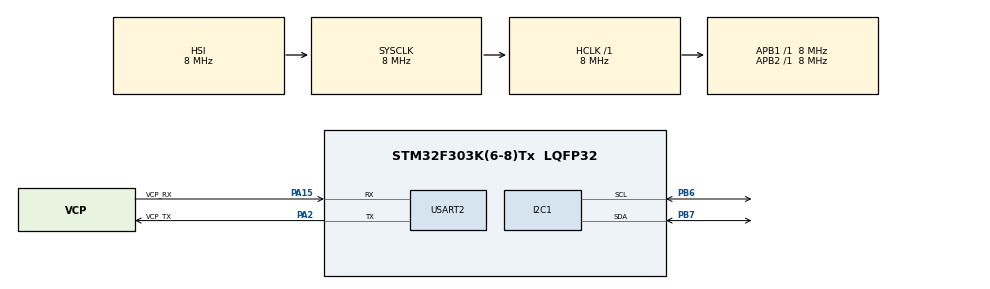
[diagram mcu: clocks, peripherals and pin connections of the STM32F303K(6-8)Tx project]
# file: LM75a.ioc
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Mcu.Family=STM32F3
Mcu.Name=STM32F303K(6-8)Tx
Mcu.Package=LQFP32
NVIC.PriorityGroup=NVIC_PRIORITYGROUP_4
PA13.GPIO_Label=SWDIO
PA13.Mode=Serial_Wire
PA13.Signal=SYS_JTMS-SWDIO
PA14.GPIO_Label=SWCLK
PA14.Mode=Serial_Wire
PA14.Signal=SYS_JTCK-SWCLK
PA15.GPIO_Label=VCP_RX
PA15.Mode=Asynchronous
PA15.Signal=USART2_RX
PA2.GPIO_Label=VCP_TX
PA2.Mode=Asynchronous
PA2.Signal=USART2_TX
PB6.Mode=I2C
PB6.Signal=I2C1_SCL
PB7.Mode=I2C
PB7.Signal=I2C1_SDA
PF0\ /\ OSC_IN.GPIO_Label=MCO
PF0\ /\ OSC_IN.Mode=HSE-External-Clock-Source
PF0\ /\ OSC_IN.Signal=RCC_OSC_IN
ProjectManager.HeapSize=0x200
ProjectManager.StackSize=0x400
ProjectManager.TargetToolchain=STM32CubeIDE
RCC.AHBFreq_Value=8000000
RCC.APB1Freq_Value=8000000
RCC.APB2Freq_Value=8000000
RCC.CortexFreq_Value=8000000
RCC.HSE_VALUE=8000000
RCC.HSI_VALUE=8000000
RCC.SYSCLKFreq_VALUE=8000000
USART2.VirtualMode-Asynchronous=VM_ASYNC
board=NUCLEO-F303K8

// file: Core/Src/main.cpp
/* USER CODE BEGIN Header */
/*
 * Project Name: Library for the LM75A temperature sensor by NXP and Texas Instruments.
 * File: main.c
 * Description: test file to show/test library functions
 * Author: Gavin Lyons.
 * IC: STM32F303
 * IDE:  STM32cubeIDE C++
 * Created DEC 2021
 * Description: See URL for full details.
 * URL: https://github.com/gavinlyonsrepo/STM32_projects
 */
/* USER CODE END Header */
#include "main.h"
#include <stdint.h>
#include <stdbool.h>
#include <stdio.h>
#include <string.h>

/* USER CODE BEGIN Includes */
#include <LM75A.h>
/* USER CODE END Includes */

I2C_HandleTypeDef hi2c1;

UART_HandleTypeDef huart2;

void SystemClock_Config(void);
static void MX_GPIO_Init(void);
static void MX_USART2_UART_Init(void);
static void MX_I2C1_Init(void);
/* USER CODE BEGIN PFP */
// Only needed for LIB_TEST
void checkTrueValue(const char* caption, const bool value, const bool expected);

const char* getFaultQueueValueString(const FaultQueueValue value);
const char* getOsPolarityString(const OsPolarity value);
const char* getDeviceModeString(DeviceMode value);

void checkFaultQueueValue(const char* caption, const FaultQueueValue value, const FaultQueueValue expected);
void checkOsPolarityValue(const char* caption, const OsPolarity value, const OsPolarity expected);
void checkDeviceModeValue(const char* caption, const DeviceMode value, const DeviceMode expected);

void checkTemperatureResult(const char* caption, const float value);
void checkTemperatureValue(const char* caption, const float value, const float expected);
/* USER CODE END PFP */

/* USER CODE BEGIN 0 */
LIB_LM75A lm75a(&hi2c1, LM75A_DEFAULT_ADDRESS << 1);
char uart_buf[50];
int uart_buf_len;
bool testResult = true;

#define LIB_BASIC
//#define LIB_TEST

#ifdef  LIB_BASIC
bool Temp_type_Celsius = true; //true for Celsius , False  for Farenheit
bool basic_usage_or_test = true; // true for basic , false for full library test
float temperature = 0.0;
bool is_shutdown = false;
#endif

#ifdef LIB_TEST
float oldHysterisisTemperature;
float oldOsTripTemperature;
FaultQueueValue oldFaultQueueValue;
OsPolarity oldOsPolarity;
DeviceMode oldDeviceMode;
float newHysterisisTemperature = 62.0f;
float newOsTripTemperature = 59.0f;
FaultQueueValue newFaultQueueValue = FaultQueueValue::NUMBER_OF_FAULTS_6;
OsPolarity newOsPolarity = OsPolarity::OS_POLARITY_ACTIVEHIGH;
DeviceMode newDeviceMode = DeviceMode::DEVICE_MODE_INTERRUPT;
#endif

/* USER CODE END 0 */

int main(void) {

	/* MCU Configuration--------------------------------------------------------*/

	/* Reset of all peripherals, Initializes the Flash interface and the Systick. */
	HAL_Init();

	/* Configure the system clock */
	SystemClock_Config();

	/* Initialize all configured peripherals */
	MX_GPIO_Init();
	MX_USART2_UART_Init();
	MX_I2C1_Init();
	/* USER CODE BEGIN 2 */

	uart_buf_len = sprintf(uart_buf, "\nLM75A Start\r\n");
	HAL_UART_Transmit(&huart2, (uint8_t*) uart_buf, uart_buf_len, 100);
	/* USER CODE END 2 */

	/* Infinite loop */
	/* USER CODE BEGIN WHILE */
	while (1) {
#ifdef  LIB_BASIC
		//Celsius
		if (Temp_type_Celsius == true) {
			temperature = lm75a.getTemperature();
			temperature *= 100;
			uart_buf_len = sprintf(uart_buf, "\nTemperature : %u.%u  *C \r\n",
					((unsigned int) temperature / 100),
					((unsigned int) temperature % 100));
			HAL_UART_Transmit(&huart2, (uint8_t*) uart_buf, uart_buf_len, 100);
		} else {
			//Farenheit
			temperature = lm75a.getTemperatureInFarenheit();
			temperature *= 1000;
			uart_buf_len = sprintf(uart_buf, "\nTemperature : %u.%u  *F \r\n",
					((unsigned int) temperature / 1000),
					((unsigned int) temperature % 100));
			HAL_UART_Transmit(&huart2, (uint8_t*) uart_buf, uart_buf_len, 100);
		}
		// Hysteris
		temperature = lm75a.getHysterisisTemperature();
		temperature *= 100;
		uart_buf_len = sprintf(uart_buf, "Hysteris temperature: %u.%u  *C \r\n",
				((unsigned int) temperature / 100),
				((unsigned int) temperature % 100));
		HAL_UART_Transmit(&huart2, (uint8_t*) uart_buf, uart_buf_len, 100);

		// OS trip temperature
		temperature = lm75a.getOSTripTemperature();
		temperature *= 100;
		uart_buf_len = sprintf(uart_buf, "OS trip temperature: %u.%u  *C \r\n",
				((unsigned int) temperature / 100),
				((unsigned int) temperature % 100));
		HAL_UART_Transmit(&huart2, (uint8_t*) uart_buf, uart_buf_len, 100);

		// Shutdown
		uart_buf_len = sprintf(uart_buf, "Shutting Down\r\n");
		HAL_UART_Transmit(&huart2, (uint8_t*) uart_buf, uart_buf_len, 100);
		lm75a.shutdown();

		is_shutdown = lm75a.isShutdown();
		uart_buf_len = sprintf(uart_buf, "Is shutdown?: %u  \r\n",
				((unsigned int) is_shutdown));
		HAL_UART_Transmit(&huart2, (uint8_t*) uart_buf, uart_buf_len, 100);

		HAL_Delay(5000);

		///Wake up
		uart_buf_len = sprintf(uart_buf, "Waking up\r\n");
		HAL_UART_Transmit(&huart2, (uint8_t*) uart_buf, uart_buf_len, 100);
		lm75a.wakeup();

		is_shutdown = lm75a.isShutdown();
		uart_buf_len = sprintf(uart_buf, "Is shutdown?: %u  \r\n",
				((unsigned int) is_shutdown));
		HAL_UART_Transmit(&huart2, (uint8_t*) uart_buf, uart_buf_len, 100);

		HAL_Delay(5000);

#endif

#ifdef  LIB_TEST
		  // Test 1 : Test comms
		  checkTrueValue("isConnected", lm75a.isConnected(), true);
		  HAL_Delay(2000);

		  // Test 2 testing temperature getters (4*)
		  checkTemperatureResult("getTemperature", lm75a.getTemperature());
		  checkTemperatureResult("getTemperatureInFarenheit", lm75a.getTemperatureInFarenheit());
		  checkTemperatureResult("getHysterisisTemperature", lm75a.getHysterisisTemperature());
		  checkTemperatureResult("getOSTripTemperature", lm75a.getOSTripTemperature());
		  HAL_UART_Transmit(&huart2, (uint8_t*)'\n', 1, 100);
		  // Test 3 Testing other getters
		  checkFaultQueueValue("getFaultQueueValue", lm75a.getFaultQueueValue(), FaultQueueValue::NUMBER_OF_FAULTS_1);
		  checkOsPolarityValue("getOsPolarity", lm75a.getOsPolarity(), OsPolarity::OS_POLARITY_ACTIVELOW);
		  checkDeviceModeValue("getDeviceMode", lm75a.getDeviceMode(), DeviceMode::DEVICE_MODE_COMPARATOR);
		  HAL_Delay(2000);

		  // Test 4 : Testing temperature setters
		  oldHysterisisTemperature = lm75a.getHysterisisTemperature();
		  oldOsTripTemperature = lm75a.getOSTripTemperature();

		  lm75a.setHysterisisTemperature(newHysterisisTemperature);
		  lm75a.setOsTripTemperature(newOsTripTemperature);

		  checkTemperatureValue("setHysterisisTemperature", lm75a.getHysterisisTemperature(), newHysterisisTemperature);
		  checkTemperatureValue("setOsTripTemperature", lm75a.getOSTripTemperature(), newOsTripTemperature);

		  lm75a.setHysterisisTemperature(oldHysterisisTemperature);
		  lm75a.setOsTripTemperature(oldOsTripTemperature);
		  HAL_Delay(2000);

		  // Test 5 "Testing other setters");
		  oldFaultQueueValue = lm75a.getFaultQueueValue();
		  oldOsPolarity = lm75a.getOsPolarity();
		  oldDeviceMode = lm75a.getDeviceMode();

		  lm75a.setFaultQueueValue(newFaultQueueValue);
		  lm75a.setOsPolarity(newOsPolarity);
		  lm75a.setDeviceMode(newDeviceMode);
		  checkFaultQueueValue("setFaultQueueValue: ", lm75a.getFaultQueueValue(), newFaultQueueValue);
		  checkOsPolarityValue("setOsPolarity", lm75a.getOsPolarity(), newOsPolarity);
		  checkDeviceModeValue("setDeviceMode", lm75a.getDeviceMode(), newDeviceMode);

		  lm75a.setFaultQueueValue(oldFaultQueueValue);
		  lm75a.setOsPolarity(oldOsPolarity);
		  lm75a.setDeviceMode(oldDeviceMode);
		  HAL_Delay(2000);
		  // Test 6
		  lm75a.shutdown();
		  checkTrueValue("shutdown", lm75a.isShutdown(), true);
		  HAL_Delay(2000);
		  lm75a.wakeup();
		  checkTrueValue("shutdown", lm75a.isShutdown(), false);
		  HAL_Delay(2000);
		  uart_buf_len = sprintf(uart_buf, "\nTest Result %u\r\n",(uint8_t)testResult);
		  HAL_UART_Transmit(&huart2, (uint8_t*) uart_buf, uart_buf_len, 100);
		  while(1){}; // stay here test over
#endif

		/* USER CODE END WHILE */

	}
}

void SystemClock_Config(void) {
	RCC_OscInitTypeDef RCC_OscInitStruct = { 0 };
	RCC_ClkInitTypeDef RCC_ClkInitStruct = { 0 };
	RCC_PeriphCLKInitTypeDef PeriphClkInit = { 0 };

	/** Initializes the RCC Oscillators according to the specified parameters
	 * in the RCC_OscInitTypeDef structure.
	 */
	RCC_OscInitStruct.OscillatorType = RCC_OSCILLATORTYPE_HSI;
	RCC_OscInitStruct.HSIState = RCC_HSI_ON;
	RCC_OscInitStruct.HSICalibrationValue = RCC_HSICALIBRATION_DEFAULT;
	RCC_OscInitStruct.PLL.PLLState = RCC_PLL_NONE;
	if (HAL_RCC_OscConfig(&RCC_OscInitStruct) != HAL_OK) {
		Error_Handler();
	}
	/** Initializes the CPU, AHB and APB buses clocks
	 */
	RCC_ClkInitStruct.ClockType = RCC_CLOCKTYPE_HCLK | RCC_CLOCKTYPE_SYSCLK
			| RCC_CLOCKTYPE_PCLK1 | RCC_CLOCKTYPE_PCLK2;
	RCC_ClkInitStruct.SYSCLKSource = RCC_SYSCLKSOURCE_HSI;
	RCC_ClkInitStruct.AHBCLKDivider = RCC_SYSCLK_DIV1;
	RCC_ClkInitStruct.APB1CLKDivider = RCC_HCLK_DIV1;
	RCC_ClkInitStruct.APB2CLKDivider = RCC_HCLK_DIV1;

	if (HAL_RCC_ClockConfig(&RCC_ClkInitStruct, FLASH_LATENCY_0) != HAL_OK) {
		Error_Handler();
	}
	PeriphClkInit.PeriphClockSelection = RCC_PERIPHCLK_I2C1;
	PeriphClkInit.I2c1ClockSelection = RCC_I2C1CLKSOURCE_HSI;
	if (HAL_RCCEx_PeriphCLKConfig(&PeriphClkInit) != HAL_OK) {
		Error_Handler();
	}
}

static void MX_I2C1_Init(void) {

	hi2c1.Instance = I2C1;
	hi2c1.Init.Timing = 0x2000090E;
	hi2c1.Init.OwnAddress1 = 0;
	hi2c1.Init.AddressingMode = I2C_ADDRESSINGMODE_7BIT;
	hi2c1.Init.DualAddressMode = I2C_DUALADDRESS_DISABLE;
	hi2c1.Init.OwnAddress2 = 0;
	hi2c1.Init.OwnAddress2Masks = I2C_OA2_NOMASK;
	hi2c1.Init.GeneralCallMode = I2C_GENERALCALL_DISABLE;
	hi2c1.Init.NoStretchMode = I2C_NOSTRETCH_DISABLE;
	if (HAL_I2C_Init(&hi2c1) != HAL_OK) {
		Error_Handler();
	}
	/** Configure Analogue filter
	 */
	if (HAL_I2CEx_ConfigAnalogFilter(&hi2c1, I2C_ANALOGFILTER_ENABLE)
			!= HAL_OK) {
		Error_Handler();
	}
	/** Configure Digital filter
	 */
	if (HAL_I2CEx_ConfigDigitalFilter(&hi2c1, 0) != HAL_OK) {
		Error_Handler();
	}

}

static void MX_USART2_UART_Init(void) {

	huart2.Instance = USART2;
	huart2.Init.BaudRate = 38400;
	huart2.Init.WordLength = UART_WORDLENGTH_8B;
	huart2.Init.StopBits = UART_STOPBITS_1;
	huart2.Init.Parity = UART_PARITY_NONE;
	huart2.Init.Mode = UART_MODE_TX_RX;
	huart2.Init.HwFlowCtl = UART_HWCONTROL_NONE;
	huart2.Init.OverSampling = UART_OVERSAMPLING_16;
	huart2.Init.OneBitSampling = UART_ONE_BIT_SAMPLE_DISABLE;
	huart2.AdvancedInit.AdvFeatureInit = UART_ADVFEATURE_NO_INIT;
	if (HAL_UART_Init(&huart2) != HAL_OK) {
		Error_Handler();
	}

}

static void MX_GPIO_Init(void) {

	/* GPIO Ports Clock Enable */
	__HAL_RCC_GPIOF_CLK_ENABLE();
	__HAL_RCC_GPIOA_CLK_ENABLE();
	__HAL_RCC_GPIOB_CLK_ENABLE();

}

/* USER CODE BEGIN 4 */

void checkTrueValue(const char* caption, const bool value, const bool expected)
{
  bool fail = value != expected;

  if (fail)
  {
    testResult = false;
    uart_buf_len = sprintf(uart_buf, "%s : %u FAIL \r\n\n", caption , (uint8_t)value);
  }
  else
  {
	  uart_buf_len = sprintf(uart_buf, "%s : %u: PASS\r\n\n", caption , (uint8_t)value);
  }

  HAL_UART_Transmit(&huart2, (uint8_t*) uart_buf, uart_buf_len, 100);
}

const char* getFaultQueueValueString(const FaultQueueValue value)
{
  switch (value)
  {
    case FaultQueueValue::NUMBER_OF_FAULTS_1:
      return "NUMBER_OF_FAULTS_1";
    case FaultQueueValue::NUMBER_OF_FAULTS_2:
      return "NUMBER_OF_FAULTS_2";
    case FaultQueueValue::NUMBER_OF_FAULTS_4:
      return "NUMBER_OF_FAULTS_4";
    case FaultQueueValue::NUMBER_OF_FAULTS_6:
      return "NUMBER_OF_FAULTS_4";
    default:
      return "** ILLEGAL VALUE **";
  }
}

const char* getOsPolarityString(const OsPolarity value)
{
  switch (value)
  {
    case OsPolarity::OS_POLARITY_ACTIVEHIGH:
      return "OS_POLARITY_ACTIVEHIGH";
    case OsPolarity::OS_POLARITY_ACTIVELOW:
      return "OS_POLARITY_ACTIVELOW";
    default:
      return "** ILLEGAL VALUE **";
  }
}

const char* getDeviceModeString(DeviceMode value)
{
  switch (value)
  {
    case DeviceMode::DEVICE_MODE_COMPARATOR:
      return "DEVICE_MODE_COMPARATOR";
    case DeviceMode::DEVICE_MODE_INTERRUPT:
      return "DEVICE_MODE_INTERRUPT";
    default:
      return "** ILLEGAL VALUE **";
  }
}

void checkTemperatureValue(const char* caption, const float value, const float expected)
{
  bool fail = value != expected;

  if (fail)
  {
    testResult = false;
    uart_buf_len = sprintf(uart_buf, "%s : %u: %u FAIL\r\n", caption , (uint8_t)value, (uint8_t)expected);
  }
  else
  {
	  uart_buf_len = sprintf(uart_buf, "%s : %u: PASS\r\n", caption , (uint8_t)value);
  }
  HAL_UART_Transmit(&huart2, (uint8_t*) uart_buf, uart_buf_len, 100);
}

void checkTemperatureResult(const char* caption, const float value)
{
  bool fail = value == LM75A_INVALID_TEMPERATURE;
  if (fail)
  {
    testResult = false;
    uart_buf_len = sprintf(uart_buf, "%s : %u: FAIL LM75A_INVALID_TEMPERATURE\r\n", caption , (uint8_t)value);
  }
  else
  {
	  uart_buf_len = sprintf(uart_buf, "%s : %u: PASS\r\n", caption , (uint8_t)value);
  }
  HAL_UART_Transmit(&huart2, (uint8_t*) uart_buf, uart_buf_len, 100);
}

void checkOsPolarityValue(const char* caption, const OsPolarity value, const OsPolarity expected)
{
  bool fail = value != expected;
  if (fail)
  {
    testResult = false;
    uart_buf_len = sprintf(uart_buf, "%s : %d: FAIL \r\n", caption , (uint8_t)expected);
  }
  else
  {
	  uart_buf_len = sprintf(uart_buf, "%s : %d: PASS\r\n", caption , (uint8_t)expected);
  }
  HAL_UART_Transmit(&huart2, (uint8_t*) uart_buf, uart_buf_len, 100);
}

void checkDeviceModeValue(const char* caption, const DeviceMode value, const DeviceMode expected)
{
  bool fail = value != expected;

  if (fail)
  {
    testResult = false;
    uart_buf_len = sprintf(uart_buf, "%s : %d: FAIL Expected\r\n", caption , (uint8_t)expected);
  }
  else
  {
	  uart_buf_len = sprintf(uart_buf, "%s : %d: PASS \r\n\n", caption , (uint8_t)expected);
  }
  HAL_UART_Transmit(&huart2, (uint8_t*) uart_buf, uart_buf_len, 100);
}

void checkFaultQueueValue(const char* caption, const FaultQueueValue value, const FaultQueueValue expected)
{
  bool fail = value != expected;
  if (fail)
  {
    testResult = false;
    uart_buf_len = sprintf(uart_buf, "%s : %d: FAIL Expected\r\n", caption , (uint8_t)expected);

  }
  else
  {
	  uart_buf_len = sprintf(uart_buf, "%s : %d: PASS \r\n", caption , (uint8_t)expected);
  }
  HAL_UART_Transmit(&huart2, (uint8_t*) uart_buf, uart_buf_len, 100);
}
/* USER CODE END 4 */

void Error_Handler(void) {
}

/************************ (C) COPYRIGHT STMicroelectronics *****END OF FILE****/
